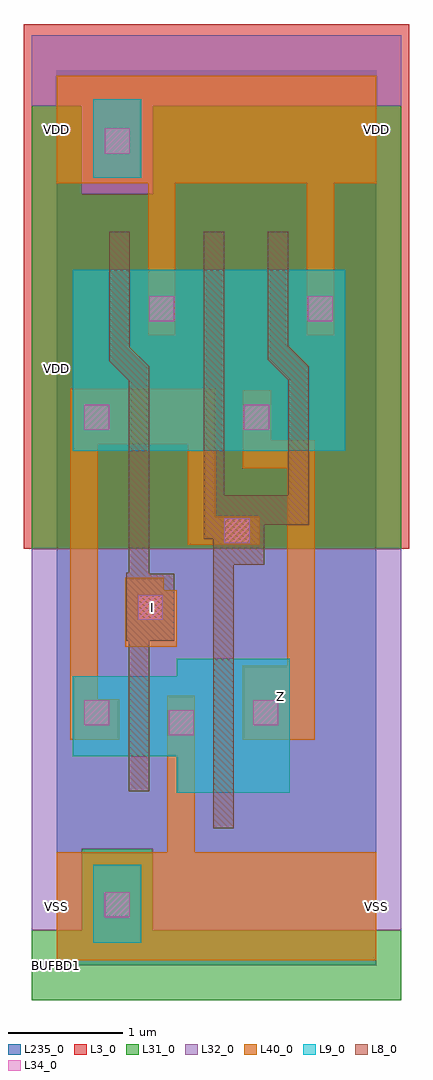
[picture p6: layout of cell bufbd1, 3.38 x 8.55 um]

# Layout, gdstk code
import gdstk
lib = gdstk.Library(unit=1e-6, precision=1e-09)
def R(c, l, rs):  # rectangles x0, y0, x1, y1
    for r in rs: c.add(gdstk.rectangle(r[:2], r[2:], *l))
def P(c, l, *ps):  # polygons
    for p in ps: c.add(gdstk.Polygon(p, *l))
L3_0 = (3, 0)
L8_0 = (8, 0)
L9_0 = (9, 0)
L31_0 = (31, 0)
L32_0 = (32, 0)
L34_0 = (34, 0)
L40_0 = (40, 0)
L235_0 = (235, 0)

bufbd1 = lib.new_cell('bufbd1')
R(bufbd1, L3_0, [(-0.29,3.65,3.09,8.245)])
P(bufbd1, L8_0, [(1.55,3.51),(1.82,3.51),(1.82,3.86),(2.21,3.86),(2.21,5.245),(2.03,5.425),(2.03,6.425),(1.85,6.425),(1.85,5.305),(2.03,5.125),(2.03,4.115),(1.47,4.115),(1.47,6.425),(1.29,6.425),(1.29,3.735),(1.37,3.735),(1.37,1.2),(1.55,1.2)],
  [(0.81,2.84),(1.03,2.84),(1.03,3.43),(0.81,3.43),(0.81,5.245),(0.64,5.415),(0.64,6.425),(0.46,6.425),(0.46,5.29),(0.63,5.12),(0.63,3.44),(0.61,3.44),(0.61,2.84),(0.63,2.84),(0.63,1.525),(0.81,1.525)])
R(bufbd1, L9_0, [(0.32,0.195,0.74,0.88), (0.14,4.505,2.53,6.09), (0.32,6.9,0.74,7.585)])
P(bufbd1, L9_0, [(2.04,2.685),(2.04,1.51),(1.05,1.51),(1.05,1.83),(0.14,1.83),(0.14,2.53),(1.05,2.53),(1.05,2.685)])
P(bufbd1, L31_0, [(0.84,1.02),(0.84,0.305),(3.02,0.305),(3.02,-0.305),(-0.22,-0.305),(-0.22,0.305),(0.22,0.305),(0.22,1.02)],
  [(3.02,7.53),(3.02,3.65),(-0.22,3.65),(-0.22,7.53),(0.22,7.53),(0.22,6.76),(0.84,6.76),(0.84,7.53)])
P(bufbd1, L32_0, [(3.02,3.65),(3.02,0.305),(0.84,0.305),(0.84,1.02),(0.22,1.02),(0.22,0.305),(-0.22,0.305),(-0.22,3.65)],
  [(3.02,8.145),(3.02,7.53),(0.84,7.53),(0.84,6.76),(0.22,6.76),(0.22,7.53),(-0.22,7.53),(-0.22,8.145)])
R(bufbd1, L34_0, [(0.42,0.42,0.64,0.64), (0.98,2.015,1.2,2.235), (0.24,2.1,0.46,2.32), (1.72,2.1,1.94,2.32), (0.71,3.025,0.93,3.245), (1.47,3.695,1.69,3.915), (0.24,4.69,0.46,4.91), (1.64,4.69,1.86,4.91), (0.81,5.64,1.03,5.86), (2.2,5.64,2.42,5.86), (0.42,7.11,0.64,7.33)])
P(bufbd1, L40_0, [(0,6.85),(0.8,6.85),(0.8,5.52),(1.04,5.52),(1.04,6.85),(2.19,6.85),(2.19,5.52),(2.43,5.52),(2.43,6.85),(2.8,6.85),(2.8,7.79),(0,7.79)],
  [(1.88,5.035),(1.63,5.035),(1.63,4.355),(2.02,4.355),(2.02,2.625),(1.63,2.625),(1.63,1.975),(2.26,1.975),(2.26,4.6),(1.88,4.6)],
  [(0.6,3.395),(0.6,2.79),(1.05,2.79),(1.05,3.285),(0.94,3.285),(0.94,3.395)],
  [(1.15,4.565),(1.15,3.685),(1.78,3.685),(1.78,3.93),(1.39,3.93),(1.39,5.05),(0.12,5.05),(0.12,1.975),(0.55,1.975),(0.55,2.33),(0.36,2.33),(0.36,4.565)],
  [(0.97,2.36),(0.97,0.99),(0,0.99),(0,0.045),(2.8,0.045),(2.8,0.99),(1.21,0.99),(1.21,2.36)])
R(bufbd1, L235_0, [(0,0,2.8,7.84)])
bufbd1.add(gdstk.Label('VDD', (0,5.23), layer=40, texttype=7))
bufbd1.add(gdstk.Label('VDD', (0,5.23), layer=40, texttype=7))
bufbd1.add(gdstk.Label('VDD', (0,5.23), layer=40, texttype=7))
bufbd1.add(gdstk.Label('VDD', (0,5.23), layer=40, texttype=7))
bufbd1.add(gdstk.Label('VDD', (0,5.23), layer=40, texttype=7))
bufbd1.add(gdstk.Label('Copyright (c) 2003, 2004 Synopsys, Inc.', (0,-2.24), layer=96, texttype=0))
bufbd1.add(gdstk.Label('DT. 10-Sep-2002 16:38:29', (0,-1.68), layer=96, texttype=0))
bufbd1.add(gdstk.Label('Rev. 1', (0,-1.12), layer=96, texttype=0))
bufbd1.add(gdstk.Label('NON-INVERTING BALANCED BUFFER, 1X DRIVE', (0,-0.56), layer=96, texttype=0))
bufbd1.add(gdstk.Label('BUFBD1', (0,0), layer=96, texttype=0))
bufbd1.add(gdstk.Label('Z', (1.96,2.35), layer=40, texttype=7))
bufbd1.add(gdstk.Label('I', (0.84,3.135), layer=40, texttype=7))
bufbd1.add(gdstk.Label('VSS', (2.8,0.515), layer=40, texttype=7))
bufbd1.add(gdstk.Label('VDD', (2.8,7.32), layer=40, texttype=7))
bufbd1.add(gdstk.Label('VSS', (0,0.515), layer=40, texttype=7))
bufbd1.add(gdstk.Label('VDD', (0,7.32), layer=40, texttype=7))

lib.write_gds('bufbd1.gds')
